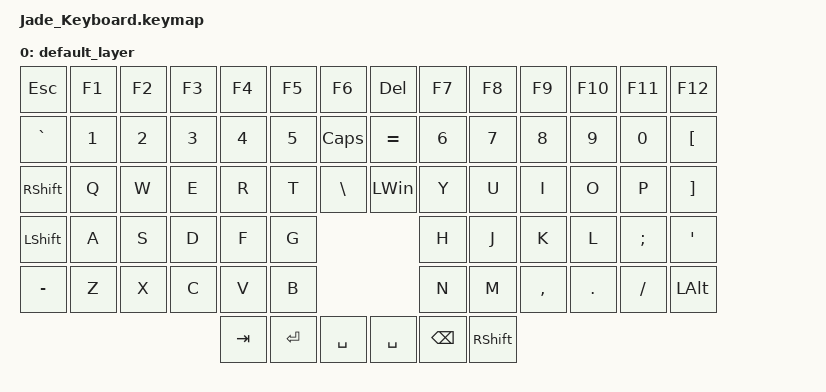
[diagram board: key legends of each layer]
#include <behaviors.dtsi>
#include <dt-bindings/zmk/keys.h>
#include <dt-bindings/zmk/bt.h>

/ {
    keymap {
        compatible = "zmk,keymap";

        default_layer {
            // ---------------------------------------------------------------------------------------------------------------------------------
            // |  ESC   |  F1 |  F2 |  F3  |  F4  |  F5  |  F6  |                                 |  DEL   |  F7   |  F8  |   F9  |  F10 |  F11  |  F12  |
            // |  `    |  1  |  2  |  3   |  4   |  5   |  CAPS  |                                |  EQUAL  |  6   |   7   |   8   |  9   |   0   |   [  |
            // |  RSHIFT  |  Q  |  W  |  E   |  R   |  T   |  \  |                              |   WIN    |  Y   |   U   |   I   |  O   |   P   |   ]  |
            // |  LSHIFT  |  A  |  S  |  D   |  F   |  G   |                                                 |  H   |   J   |   K   |  L   |   ;   |   '  |
            // |   - |  Z  |  X  |  C   |  V   |  B   | SPACE | ENTER |       | |           |RSHIFT  | SPACE |  N   |   M   |   ,   |  .   |   /   | ALT |
            //                                        | TAB  |                | |                    |  BACK |
            //

            bindings = <
                &kp ESC        &kp F1   &kp F2      &kp F3      &kp F4     &kp F5  &kp F6             &kp DEL  &kp F7  &kp F8  &kp F9      &kp F10     &kp F11     &kp F12
                &kp GRAVE      &kp N1   &kp N2      &kp N3      &kp N4     &kp N5  &kp CAPS          &kp EQUAL &kp N6  &kp N7  &kp N8      &kp N9      &kp N0      &kp LBKT
                &kp RSHIFT     &kp Q    &kp W       &kp E       &kp R      &kp T   &kp BSLH          &kp LWIN  &kp Y   &kp U   &kp I       &kp O       &kp P       &kp RBKT
                &kp LSHIFT     &kp A    &kp S       &kp D       &kp F      &kp G                               &kp H   &kp J   &kp K       &kp L       &kp SEMI    &kp SQT
                &kp MINUS      &kp Z    &kp X       &kp C       &kp V      &kp B                               &kp N   &kp M   &kp COMMA   &kp DOT     &kp FSLH    &kp LALT
                                                                &kp TAB  &kp ENTER &kp SPACE  &kp SPACE &kp BSPC &kp RSHIFT   
            >;
        };
    };
combos {
        compatible = "zmk,combos";
        combo_reset_left_boot {
            timeout-ms = <50>;
            key-positions = <4 5 6>;
            bindings = <&bootloader>;
        };
        combo_reset_right_boot {
            timeout-ms = <50>;
            key-positions = <7 8 9>;
            bindings = <&bootloader>;
        };
        combo_bluetooth_switch {
            timeout-ms = <50>;
            key-positions = <0 1 12 13>;
            bindings = <&bt BT_NXT>;
        };
        combo_bluetooth_clear {
            timeout-ms = <50>;
            key-positions = <4 5 8 9>;
            bindings = <&bt BT_CLR>;
        };
        combo_reset_left {
            timeout-ms = <50>;
            key-positions = <66 67 68>;
            bindings = <&sys_reset>;
        };
        combo_reset_right {
            timeout-ms = <50>;
            key-positions = <69 70 71>;
            bindings = <&sys_reset>;
        };
    };
};
